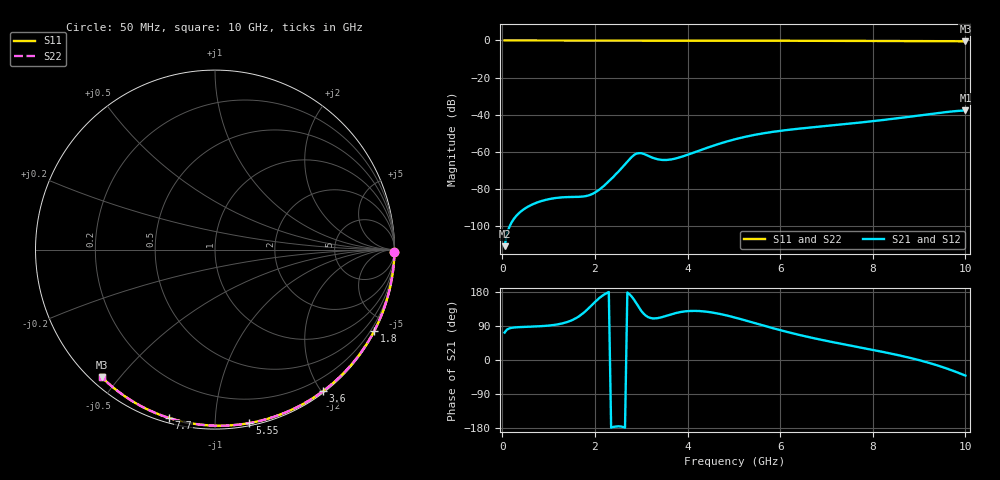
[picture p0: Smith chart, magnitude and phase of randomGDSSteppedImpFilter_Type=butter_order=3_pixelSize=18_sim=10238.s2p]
! freq	dB(S11)	phase(S11)	dB(S12)	phase(S12)
!  dB(S21)	phase(S21)	dB(S22)	phase(S22)
!S-par simulation data
#  GHz  S  DB  R 50
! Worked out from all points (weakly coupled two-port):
!   200 points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, 50 MHz to 10 GHz, reference 50 ohm
!   highest |S21| = -37.64 dB at 10 GHz (marker M1); lowest = -110.8 dB at 50 MHz (marker M2)
!   lowest |S11| = -0.4 dB at 10 GHz (marker M3), VSWR 39.47, Z = 1.52 - j22.4 ohm
!   |S11| at or under -10 dB: nowhere
!   |S22| runs from -0.4 to 0.0 dB; largest |S21 - S12| = 0
!   S11 on the Smith chart (normalised r, x): 50 MHz: open; 1.8 GHz: 0.04, -4.17; 3.6 GHz: 0.02, -2.02; 5.55 GHz: 0.02, -1.22; 7.7 GHz: 0.02, -0.76; 10 GHz: 0.03, -0.45
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0.05  -0.00 -0.8  -110.78 72.3  -110.78 72.3  -0.00 -0.8
0.9  -0.02 -13.6  -86.08 89.8  -86.08 89.8  -0.02 -13.6
1.75  -0.03 -26.3  -84.02 123.9  -84.02 123.9  -0.03 -26.3
1.8  -0.03 -27.0  -83.82 129.2  -83.82 129.2  -0.03 -27.0
2.1  -0.04 -31.4  -80.25 164.0  -80.25 164.0  -0.04 -31.4
2.15  -0.04 -32.1  -79.22 168.6  -79.22 168.6  -0.04 -32.1
2.4  -0.05 -35.8  -73.43 -176.5  -73.43 -176.5  -0.05 -35.8
2.8  -0.05 -41.5  -62.64 166.6  -62.64 166.6  -0.05 -41.5
2.9  -0.06 -42.9  -60.86 148.6  -60.86 148.6  -0.06 -42.9
3.05  -0.06 -45.1  -61.04 122.6  -61.04 122.6  -0.06 -45.1
3.25  -0.06 -47.9  -63.20 109.8  -63.20 109.8  -0.06 -47.9
3.4  -0.07 -50.0  -64.17 111.7  -64.17 111.7  -0.07 -50.0
3.6  -0.07 -52.8  -64.21 118.8  -64.21 118.8  -0.07 -52.8
3.85  -0.08 -56.2  -62.82 126.6  -62.82 126.6  -0.08 -56.2
4.6  -0.10 -66.4  -56.32 123.9  -56.32 123.9  -0.10 -66.4
5.05  -0.11 -72.3  -53.04 111.2  -53.04 111.2  -0.11 -72.3
5.55  -0.13 -78.8  -50.37 94.0  -50.37 94.0  -0.13 -78.8
6.7  -0.18 -93.2  -46.76 58.2  -46.76 58.2  -0.18 -93.2
7.7  -0.24 -105.3  -44.28 33.7  -44.28 33.7  -0.24 -105.3
8.35  -0.30 -112.9  -42.45 18.0  -42.45 18.0  -0.30 -112.9
9.5  -0.40 -126.0  -38.81 -18.4  -38.81 -18.4  -0.40 -126.0
10  -0.44 -131.6  -37.64 -41.2  -37.64 -41.2  -0.44 -131.6
